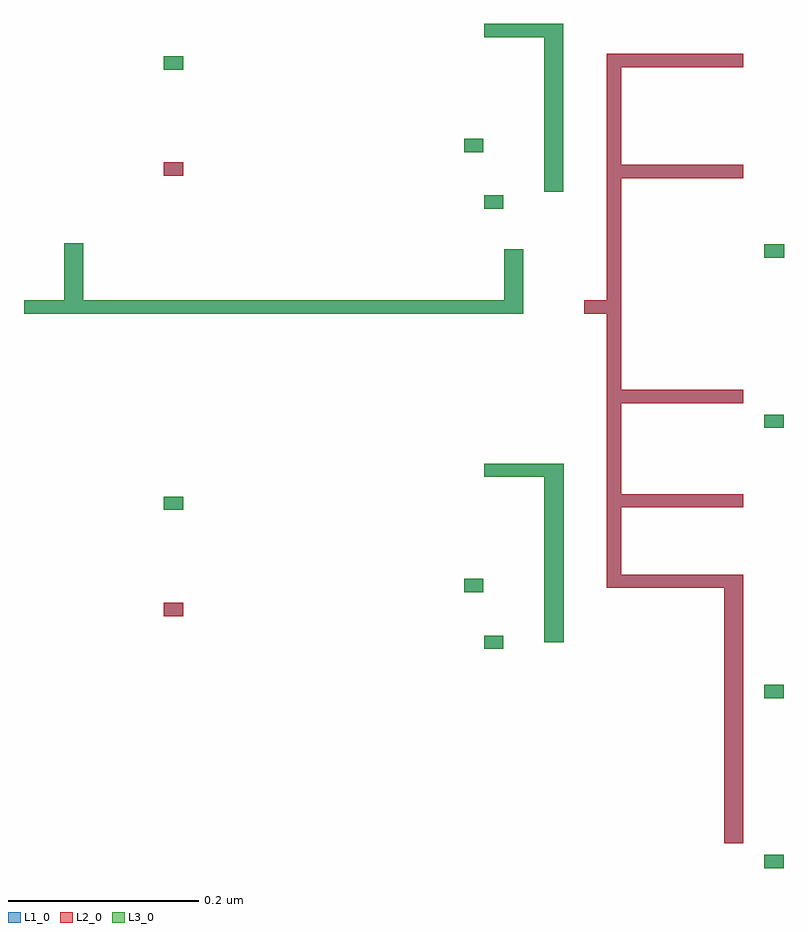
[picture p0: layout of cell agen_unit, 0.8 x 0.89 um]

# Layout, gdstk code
import gdstk
lib = gdstk.Library(unit=1e-6, precision=5e-10)
def R(c, l, rs):  # rectangles x0, y0, x1, y1
    for r in rs: c.add(gdstk.rectangle(r[:2], r[2:], *l))
def P(c, l, *ps):  # polygons
    for p in ps: c.add(gdstk.Polygon(p, *l))
L1_0 = (1, 0)
L2_0 = (2, 0)
L3_0 = (3, 0)

demux = lib.new_cell('Demux')
R(demux, L1_0, [(0.171,0.0685,0.1915,0.0825), (0.171,0.18,0.1915,0.194)])
R(demux, L2_0, [(0.171,0.0685,0.1915,0.0825)])
R(demux, L3_0, [(0.171,0.18,0.1915,0.194)])

agen_unit = lib.new_cell('agen_unit')
R(agen_unit, L1_0, [(0.802,-0.368,0.822,-0.354), (0.802,-0.1895,0.822,-0.1755), (0.508,-0.138,0.528,-0.124), (0.487,-0.0785,0.507,-0.0645), (0.802,0.094,0.822,0.108), (0.802,0.2725,0.8225,0.2865), (0.508,0.324,0.528,0.338), (0.487,0.3835,0.507,0.3975)])
P(agen_unit, L1_0, [(0.78,0.4865),(0.78,0.4725),(0.6515,0.4725),(0.6515,0.37),(0.78,0.37),(0.78,0.356),(0.6515,0.356),(0.6515,0.134),(0.78,0.134),(0.78,0.12),(0.6515,0.12),(0.6515,0.0245),(0.78,0.0245),(0.78,0.0105),(0.6515,0.0105),(0.6515,-0.06),(0.78,-0.06),(0.78,-0.342),(0.76,-0.342),(0.76,-0.074),(0.6365,-0.074),(0.6365,0.214),(0.613,0.214),(0.613,0.228),(0.6365,0.228),(0.6365,0.4865)],
  [(0.591,0.518),(0.591,0.342),(0.571,0.342),(0.571,0.504),(0.508,0.504),(0.508,0.518)],
  [(0.5915,0.0565),(0.5915,-0.131),(0.571,-0.131),(0.571,0.0425),(0.508,0.0425),(0.508,0.0565)],
  [(0.087,0.2875),(0.087,0.228),(0.529,0.228),(0.529,0.2815),(0.549,0.2815),(0.549,0.214),(0.025,0.214),(0.025,0.228),(0.067,0.228),(0.067,0.2875)])
P(agen_unit, L2_0, [(0.78,0.4865),(0.78,0.4725),(0.6515,0.4725),(0.6515,0.37),(0.78,0.37),(0.78,0.356),(0.6515,0.356),(0.6515,0.134),(0.78,0.134),(0.78,0.12),(0.6515,0.12),(0.6515,0.0245),(0.78,0.0245),(0.78,0.0105),(0.6515,0.0105),(0.6515,-0.06),(0.78,-0.06),(0.78,-0.342),(0.76,-0.342),(0.76,-0.074),(0.6365,-0.074),(0.6365,0.214),(0.613,0.214),(0.613,0.228),(0.6365,0.228),(0.6365,0.4865)])
R(agen_unit, L3_0, [(0.802,-0.368,0.822,-0.354), (0.802,-0.1895,0.822,-0.1755), (0.508,-0.138,0.528,-0.124), (0.487,-0.0785,0.507,-0.0645), (0.802,0.094,0.822,0.108), (0.802,0.2725,0.8225,0.2865), (0.508,0.324,0.528,0.338), (0.487,0.3835,0.507,0.3975)])
P(agen_unit, L3_0, [(0.591,0.518),(0.591,0.342),(0.571,0.342),(0.571,0.504),(0.508,0.504),(0.508,0.518)],
  [(0.5915,0.0565),(0.5915,-0.131),(0.571,-0.131),(0.571,0.0425),(0.508,0.0425),(0.508,0.0565)],
  [(0.087,0.2875),(0.087,0.228),(0.529,0.228),(0.529,0.2815),(0.549,0.2815),(0.549,0.214),(0.025,0.214),(0.025,0.228),(0.067,0.228),(0.067,0.2875)])
agen_unit.add(gdstk.Reference(demux, (0.0005,-0.172)))
agen_unit.add(gdstk.Reference(demux, (0.0005,0.29)))

lib.write_gds('agen_unit.gds')
